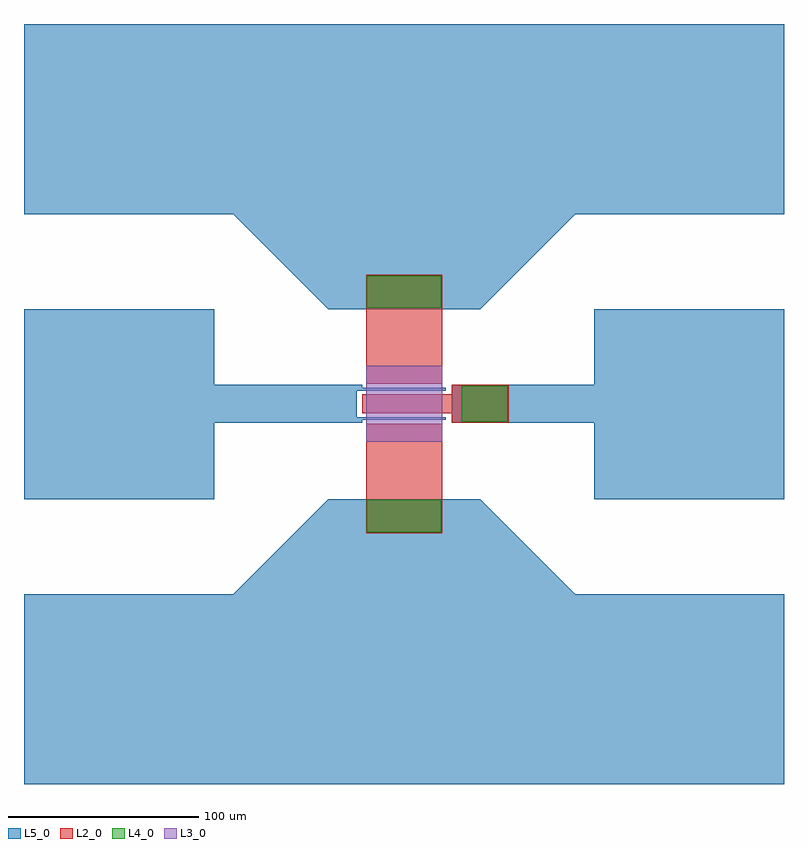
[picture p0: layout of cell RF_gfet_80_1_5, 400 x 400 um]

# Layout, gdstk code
import gdstk
lib = gdstk.Library(unit=1e-6, precision=5e-10)
def R(c, l, rs):  # rectangles x0, y0, x1, y1
    for r in rs: c.add(gdstk.rectangle(r[:2], r[2:], *l))
def A(c, l, x, y, w, h, nx, ny, dx, dy):  # array of equal rectangles
    R(c, l, [(x+i*dx, y+j*dy, x+i*dx+w, y+j*dy+h) for i in range(nx) for j in range(ny)])
def P(c, l, *ps):  # polygons
    for p in ps: c.add(gdstk.Polygon(p, *l))
L2_0 = (2, 0)
L3_0 = (3, 0)
L4_0 = (4, 0)
L5_0 = (5, 0)

sgs_open = lib.new_cell('SGS_open')
A(sgs_open, L5_0, -440, -150, 100, 100, 1, 3, 0, 150)
A(sgs_open, L5_0, -140, -150, 100, 100, 1, 3, 0, 150)
R(sgs_open, L5_0, [(-360,-150,-125,-50), (-280,-55,-200,0), (-341,40.1,-265,60.1), (-215,40.1,-136,60.1), (-280,100,-200,155), (-360,150,-125,250)])
P(sgs_open, L5_0, [(-200,0),(-150,-50),(-200,-50)],
  [(-280,0),(-330,-50),(-280,-50)],
  [(-200,100),(-150,150),(-200,150)],
  [(-280,100),(-330,150),(-280,150)])

rf_gfet_80_1_5 = lib.new_cell('RF_gfet_80_1_5')
R(rf_gfet_80_1_5, L2_0, [(5,-58,45,-0.5), (50,0,80,20), (3,5,75,15), (5,20.5,45,78)])
R(rf_gfet_80_1_5, L3_0, [(5,-10,45,30)])
R(rf_gfet_80_1_5, L4_0, [(5.5,-57.5,44.5,-40.6), (55.5,0.5,79.5,19.5), (5.5,60.5,44.5,77.5)])
R(rf_gfet_80_1_5, L5_0, [(0,0,3,3), (3,1.5,47,3), (0,17,3,20), (3,17,47,18.5)])
rf_gfet_80_1_5.add(gdstk.Reference(sgs_open, (265,-40.1)))

lib.write_gds('RF_gfet_80_1_5.gds')
